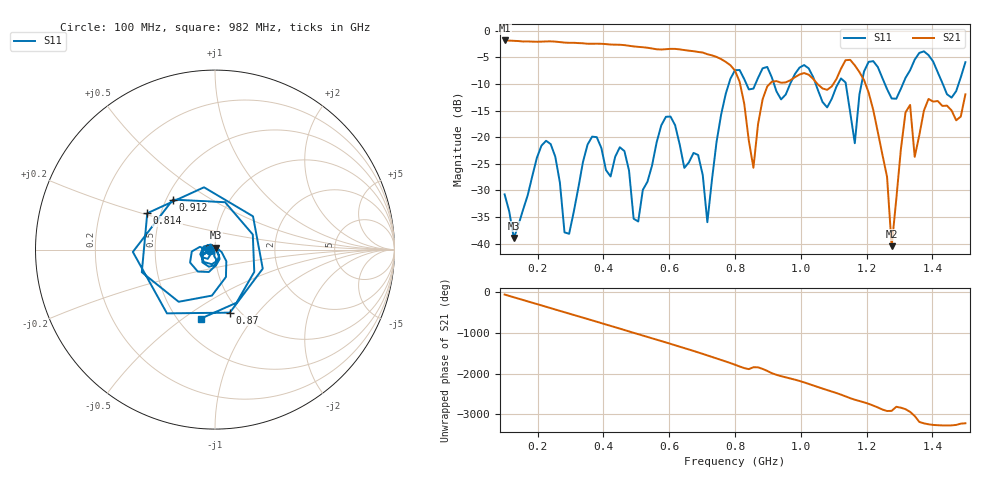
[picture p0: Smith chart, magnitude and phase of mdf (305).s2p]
! NanoVNA-App
! Date: 2025-09-25 15:40:48
! Start: 100MHz Stop: 1,5GHz Points: 101
! S-Parameter data: F S11 S21 S12 S22
# Hz S RI R 50
!  Frequency  S11_Real  S11_Imag  S21_Real  S21_Imag  S12_Real  S12_Imag  S22_Real  S22_Imag
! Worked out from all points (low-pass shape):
!   101 points, 100 MHz to 1.5 GHz, reference 50 ohm
!   highest |S21| = -1.80 dB at 100 MHz (marker M1); lowest = -40.5 dB at 1.276 GHz (marker M2)
!   |S21| within 3 dB of the highest: start of sweep to 739.3 MHz
!   lowest |S11| = -39.0 dB at 128 MHz (marker M3), VSWR 1.02, Z = 50.3 + j1.08 ohm
!   |S11| at or under -10 dB: start of sweep to 781.1 MHz; 1.045 GHz to 1.113 GHz (67.31 MHz wide, 6.24 % of centre); 1.255 GHz to 1.31 GHz (54.6 MHz wide, 4.26 % of centre)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
!   S12 and S22 are empty: the file has one direction only
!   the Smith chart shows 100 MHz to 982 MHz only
!   S11 on the Smith chart (normalised r, x): 100 MHz: 0.94, -0.01; 814 MHz: 0.42, +0.21; 870 MHz: 0.90, -0.73; 912 MHz: 0.54, +0.35; 982 MHz: 0.65, -0.59
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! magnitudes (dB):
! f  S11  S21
! 100 MHz  -30.7  -1.8
! 128 MHz  -39.0  -1.9
! 212 MHz  -21.6  -2.0
! 282 MHz  -37.9  -2.2
! 338 MHz  -24.7  -2.3
! 464 MHz  -22.6  -2.7
! 506 MHz  -35.9  -3.0
! 576 MHz  -17.8  -3.5
! 688 MHz  -23.3  -4.0
! 716 MHz  -36.0  -4.4
! 800 MHz  -7.4  -7.5
! 814 MHz  -7.4  -9.6
! 856 MHz  -10.9  -25.7
! 870 MHz  -8.9  -17.6
! 912 MHz  -8.8  -9.6
! 982 MHz  -8.1  -8.7
! 1.038 GHz  -8.7  -9.1
! 1.164 GHz  -21.1  -6.5
! 1.192 GHz  -7.6  -9.2
! 1.276 GHz  -12.7  -40.5
! 1.318 GHz  -8.8  -15.3
! 1.5 GHz  -5.9  -11.9
